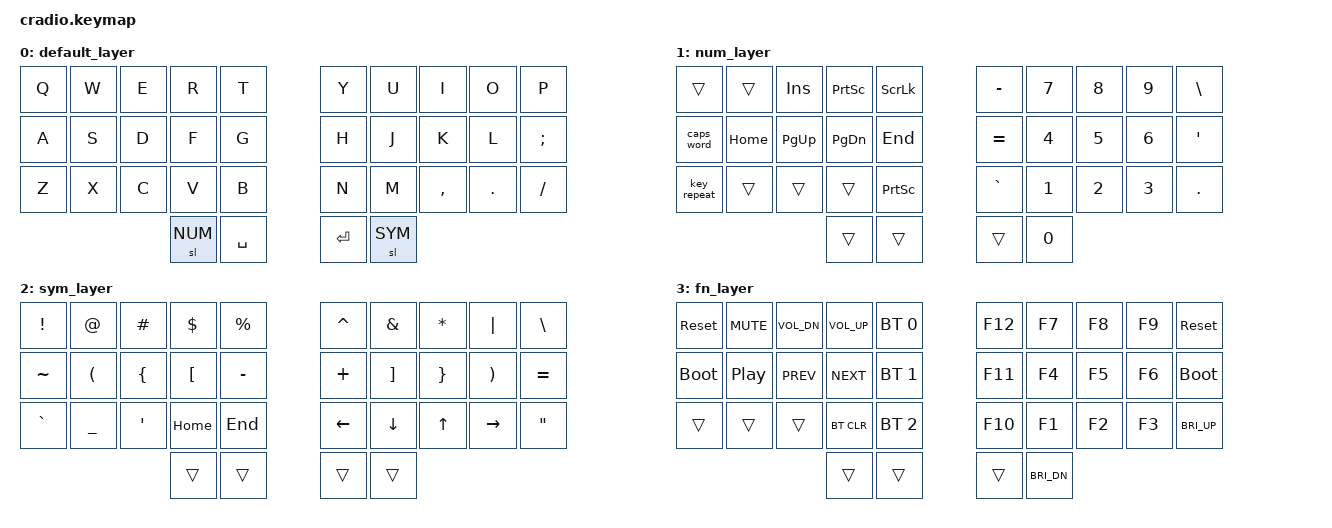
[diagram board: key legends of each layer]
// Copyright (c) 2022 The ZMK Contributors
// SPDX-License-Identifier: MIT

#include <behaviors.dtsi>
#include <dt-bindings/zmk/keys.h>
#include <dt-bindings/zmk/bt.h>

#define BASE 0
#define NUM  1
#define SYM  2
#define FN   3

/ {
    behaviors {
        ht: hold_tap {
            label = "hold_tap";
            compatible = "zmk,behavior-hold-tap";
            #binding-cells = <2>;
            flavor = "balanced";
            tapping-term-ms = <150>;
            quick-tap-ms = <75>;
            global-quick-tap;
            bindings = <&kp>, <&kp>;
        };
        td0: tap_dance_0 {
            compatible = "zmk,behavior-tap-dance";
            label = "TAP_DANCE_0";
            #binding-cells = <0>;
            tapping-term-ms = <100>;
            bindings = <&kp SPACE>, <&kp SPACE>;
        };
        td1: tap_dance_1 {
            compatible = "zmk,behavior-tap-dance";
            label = "TAP_DANCE_1";
            #binding-cells = <0>;
            tapping-term-ms = <100>;
            bindings = <&kp ENTER>, <&kp ENTER>;
        };
    };

    combos {
        compatible = "zmk,combos";
        combo_esc {
            timeout-ms = <30>;
            key-positions = <0 1>;
            bindings = <&kp ESC>;
        };
        combo_bspc {
            timeout-ms = <40>;
            key-positions = <8 9>;
            bindings = <&kp BSPC>;
        };
        combo_delete {
            timeout-ms = <30>;
            key-positions = <27 28>;
            bindings = <&kp DELETE>;
        };
        combo_tab {
            timeout-ms = <30>;
            key-positions = <2 3>;
            bindings = <&kp TAB>;
        };
        
        // Shift keys (moved to home row)
        combo_lshift {
            timeout-ms = <30>;
            key-positions = <10 11>;
            bindings = <&sk LSHIFT>;
        };
        combo_rshift {
            timeout-ms = <30>;
            key-positions = <18 19>;
            bindings = <&sk RSHIFT>;
        };
        
        // Individual modifiers - left hand (moved to bottom row)
        combo_lctrl {
            timeout-ms = <30>;
            key-positions = <20 21>;
            bindings = <&sk LCTRL>;
        };
        combo_lalt {
            timeout-ms = <30>;
            key-positions = <21 22>;
            bindings = <&sk LALT>;
        };
        combo_lgui {
            timeout-ms = <30>;
            key-positions = <22 23>;
            bindings = <&sk LGUI>;
        };
        
        // Individual modifiers - right hand (moved to bottom row)
        combo_rctrl {
            timeout-ms = <30>;
            key-positions = <28 29>;
            bindings = <&sk RCTRL>;
        };
        combo_ralt {
            timeout-ms = <30>;
            key-positions = <27 28>;
            bindings = <&sk RALT>;
        };
        combo_rgui {
            timeout-ms = <30>;
            key-positions = <26 27>;
            bindings = <&sk RGUI>;
        };
        
        // Modified modifiers - left side
        combo_ctrl_alt_l {
            timeout-ms = <50>;
            key-positions = <20 21 22>;
            bindings = <&sk LC(LALT)>;
        };
        combo_ctrl_gui_l {
            timeout-ms = <50>;
            key-positions = <20 21 23>;
            bindings = <&sk LC(LGUI)>;
        };
        combo_alt_gui_l {
            timeout-ms = <50>;
            key-positions = <21 22 23>;
            bindings = <&sk LA(LGUI)>;
        };
        combo_meh_l {
            timeout-ms = <50>;
            key-positions = <20 21 22 10>;
            bindings = <&sk LS(LC(LALT))>;
        };
        combo_hyper_l {
            timeout-ms = <50>;
            key-positions = <20 21 22 23 10>;
            bindings = <&sk LS(LC(LA(LGUI)))>;
        };
        
        // Modified modifiers - right side
        combo_ctrl_alt_r {
            timeout-ms = <50>;
            key-positions = <27 28 29>;
            bindings = <&sk RC(RALT)>;
        };
        combo_ctrl_gui_r {
            timeout-ms = <50>;
            key-positions = <26 28 29>;
            bindings = <&sk RC(RGUI)>;
        };
        combo_alt_gui_r {
            timeout-ms = <50>;
            key-positions = <26 27 28>;
            bindings = <&sk RA(RGUI)>;
        };
        combo_meh_r {
            timeout-ms = <50>;
            key-positions = <27 28 29 19>;
            bindings = <&sk RS(RC(RALT))>;
        };
        combo_hyper_r {
            timeout-ms = <50>;
            key-positions = <26 27 28 29 19>;
            bindings = <&sk RS(RC(RA(RGUI)))>;
        };
        
        // Programming shortcuts (moved to home row)
        combo_copy {
            timeout-ms = <30>;
            key-positions = <12 13>;
            bindings = <&kp LC(C)>;
        };
        combo_paste {
            timeout-ms = <30>;
            key-positions = <13 14>;
            bindings = <&kp LC(V)>;
        };
        combo_cut {
            timeout-ms = <30>;
            key-positions = <12 14>;
            bindings = <&kp LC(X)>;
        };
        combo_undo {
            timeout-ms = <30>;
            key-positions = <10 11>;
            bindings = <&kp LC(Z)>;
        };
        combo_save {
            timeout-ms = <30>;
            key-positions = <11 13>;
            bindings = <&kp LC(S)>;
        };
        combo_find {
            timeout-ms = <30>;
            key-positions = <10 13>;
            bindings = <&kp LC(F)>;
        };
    };

    conditional_layers {
        compatible = "zmk,conditional-layers";
        tri_layer {
        if-layers = <1 2>;
            then-layer = <3>;
        };
    };

    keymap {
        compatible = "zmk,keymap";
        default_layer {
            bindings = <
        //╭──────────┬──────────┬──────────┬──────────┬──────────╮   ╭──────────┬──────────┬──────────┬──────────┬──────────╮
        //│  Q       │  W       │  E       │  R       │  T       │   │  Y       │  U       │  I       │  O       │  P       │
            &kp Q      &kp W      &kp E      &kp R      &kp T          &kp Y      &kp U      &kp I      &kp O      &kp P
        //├──────────┼──────────┼──────────┼──────────┼──────────┤   ├──────────┼──────────┼──────────┼──────────┼──────────┤
        //│  A       │  S       │  D       │  F       │  G       │   │  H       │  J       │  K       │  L       │ ; :      │
            &kp A      &kp S      &kp D      &kp F      &kp G          &kp H      &kp J      &kp K      &kp L      &kp SEMI
        //├──────────┼──────────┼──────────┼──────────┼──────────┤   ├──────────┼──────────┼──────────┼──────────┼──────────┤
        //│  Z       │  X       │  C       │  V       │  B       │   │  N       │  M       │ , <      │ . >      │ / ?      │
            &kp Z      &kp X      &kp C      &kp V      &kp B          &kp N      &kp M      &kp COMMA  &kp DOT    &kp FSLH
        //╰──────────┴──────────┴──────────┼──────────┼──────────┤   ├──────────┼──────────┼──────────┴──────────┴──────────╯
                                             &sl NUM    &kp SPACE      &kp ENTER  &sl SYM
        //                                 ╰──────────┴──────────╯   ╰──────────┴──────────╯
            >;
        };   

        num_layer {
            bindings = <
        //╭──────────┬──────────┬──────────┬──────────┬──────────╮   ╭──────────┬──────────┬──────────┬──────────┬──────────╮
        //│          │          │  INS     │  PSCR    │ SLCK     │   │  - _     │ 7        │ 8        │ 9        │  \ |     │
            &trans     &trans     &kp INS    &kp PSCRN  &kp SLCK       &kp MINUS  &kp N7     &kp N8     &kp N9     &kp BSLH
        //├──────────┼──────────┼──────────┼──────────┼──────────┤   ├──────────┼──────────┼──────────┼──────────┼──────────┤
        //│ CAPS     │ HOME     │ PAGE UP  │ PAGE DN  │ END      │   │  = +     │ 4        │ 5        │ 6        │  ' "     │
           &caps_word  &kp HOME   &kp PAGE_UP &kp PG_DN  &kp END       &kp EQUAL  &kp N4     &kp N5     &kp N6     &kp SQT
        //├──────────┼──────────┼──────────┼──────────┼──────────┤   ├──────────┼──────────┼──────────┼──────────┼──────────┤
        //│KEY_REPEAT│          │          │          │PRINTSCREEN│   │  ` ~     │ 1        │ 2        │ 3        │  .       │
           &key_repeat  &trans     &trans     &trans    &kp PRINTSCREEN &kp GRAVE  &kp N1     &kp N2     &kp N3     &kp DOT
        //╰──────────┴──────────┴──────────┼──────────┼──────────┤   ├──────────┼──────────┼──────────┴──────────┴──────────╯
                                             &trans     &trans         &trans     &kp N0
        //                                 ╰──────────┴──────────╯   ╰──────────┴──────────╯
            >;
        };

        sym_layer {
            bindings = <
        //╭──────────┬──────────┬──────────┬──────────┬──────────╮   ╭──────────┬──────────┬──────────┬──────────┬──────────╮
        //│  !       │  @       │  #       │  $       │  %       │   │  ^       │  &       │  *       │  |       │  \       │
            &kp EXCL   &kp AT     &kp HASH   &kp DLLR   &kp PRCNT      &kp CARET  &kp AMPS   &kp ASTRK  &kp PIPE   &kp BSLH
        //├──────────┼──────────┼──────────┼──────────┼──────────┤   ├──────────┼──────────┼──────────┼──────────┼──────────┤
        //│  ~       │  (       │  {       │  [       │  -       │   │  +       │  ]       │  }       │  )       │  =       │
            &kp TILDE  &kp LPAR   &kp LBRC   &kp LBKT   &kp MINUS      &kp PLUS   &kp RBKT   &kp RBRC   &kp RPAR   &kp EQUAL
        //├──────────┼──────────┼──────────┼──────────┼──────────┤   ├──────────┼──────────┼──────────┼──────────┼──────────┤
        //│  `       │  _       │  '       │  HOME    │  END     │   │  LEFT    │  DOWN    │  UP      │  RIGHT   │  "       │
            &kp GRAVE  &kp UNDER  &kp SQT    &kp HOME   &kp END        &kp LEFT   &kp DOWN   &kp UP     &kp RIGHT  &kp DQT
        //╰──────────┴──────────┴──────────┼──────────┼──────────┤   ├──────────┼──────────┼──────────┴──────────┴──────────╯
                                             &trans     &trans         &trans     &trans
        //                                 ╰──────────┴──────────╯   ╰──────────┴──────────╯
            >;
        };

        fn_layer {
            bindings = <
        //╭──────────┬──────────┬──────────┬──────────┬──────────╮   ╭──────────┬──────────┬──────────┬──────────┬──────────╮
        //│ RESET    │          │          │          │PROFILE 0 │   │  F12     │  F7      │  F8      │  F9      │  RESET   │
           &sys_reset  &kp C_MUTE &kp C_VOL_DN &kp C_VOL_UP &bt BT_SEL 0 &kp F12    &kp F7     &kp F8     &kp F9    &sys_reset
        //├──────────┼──────────┼──────────┼──────────┼──────────┤   ├──────────┼──────────┼──────────┼──────────┼──────────┤
        //│BOOTLOADER│          │          │          │PROFILE 1 │   │  F11     │  F4      │  F5      │  F6      │BOOTLOADER│
           &bootloader &kp C_PP   &kp C_PREV  &kp C_NEXT &bt BT_SEL 1  &kp F11    &kp F4     &kp F5     &kp F6    &bootloader
        //├──────────┼──────────┼──────────┼──────────┼──────────┤   ├──────────┼──────────┼──────────┼──────────┼──────────┤
        //│          │          │          │ CLEAR BT │PROFILE 2 │   │  F10     │  F1      │  F2      │  F3      │ C_BRI_UP │
            &trans     &trans     &trans    &bt BT_CLR &bt BT_SEL 2    &kp F10    &kp F1     &kp F2     &kp F3    &kp C_BRI_UP
        //╰──────────┴──────────┴──────────┼──────────┼──────────┤   ├──────────┼──────────┼──────────┴──────────┴──────────╯
                                             &trans     &trans         &trans     &kp C_BRI_DN
        //                                 ╰──────────┴──────────╯   ╰──────────┴──────────╯
            >;
        };    
    };
};
